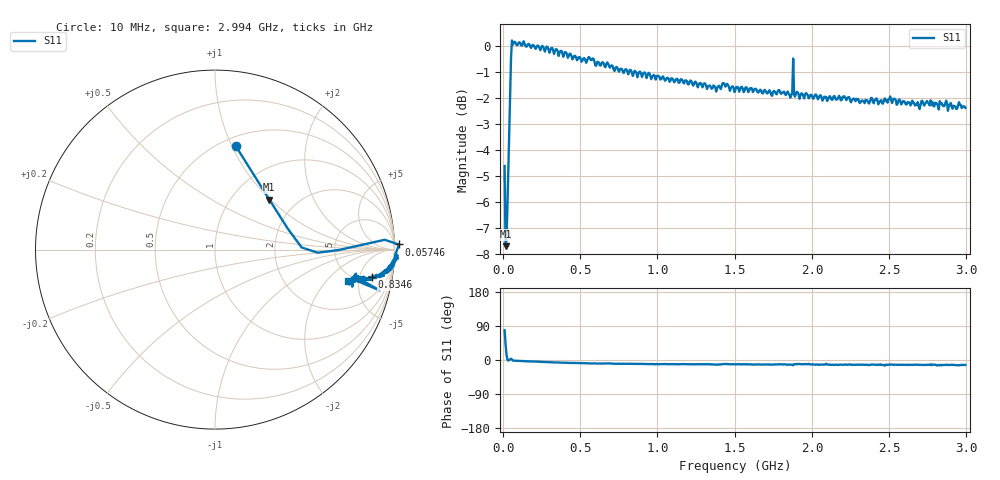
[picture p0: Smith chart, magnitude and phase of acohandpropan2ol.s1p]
# HZ S RI R 50
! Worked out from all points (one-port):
!   504 points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, 10 MHz to 2.994 GHz, reference 50 ohm
!   lowest |S11| = -7.7 dB at 15.93 MHz (marker M1), VSWR 2.40, Z = 73.7 + j49.4 ohm
!   |S11| at or under -10 dB: nowhere
!   S11 on the Smith chart (normalised r, x): 10 MHz: 0.59, +1.04; 57.46 MHz: -36, +41; 834.6 MHz: 5.37, -7.81; 2.994 GHz: 4.35, -3.54
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1e7  0.1168 0.5753
1.593254e7  0.3029 0.2784
2.779762e7  0.4827 0.0119
3.373016e7  0.5719 -0.0172
4.559524e7  0.8165 0.0262
5.746032e7  1.024 0.0284
6.339286e7  1.005 -0.028
6.93254e7  1.017 -0.0315
1.52381e8  0.9949 -0.0581
3.8375e8  0.9623 -0.1177
7.575e8  0.8885 -0.157
8.346231e8  0.8746 -0.1538
1.13125e9  0.8463 -0.1666
1.321091e9  0.8114 -0.154
1.380417e9  0.7985 -0.1726
1.43381e9  0.8317 -0.1531
1.505e9  0.8088 -0.163
1.860952e9  0.777 -0.1686
1.866885e9  0.7862 -0.1717
1.87875e9  0.918 -0.2275
1.920278e9  0.7781 -0.1429
2.032996e9  0.7811 -0.1679
2.2525e9  0.7606 -0.1676
2.430476e9  0.753 -0.1693
2.460139e9  0.7539 -0.1763
2.513532e9  0.7693 -0.1599
2.62625e9  0.7598 -0.1698
2.994068e9  0.7402 -0.1722
